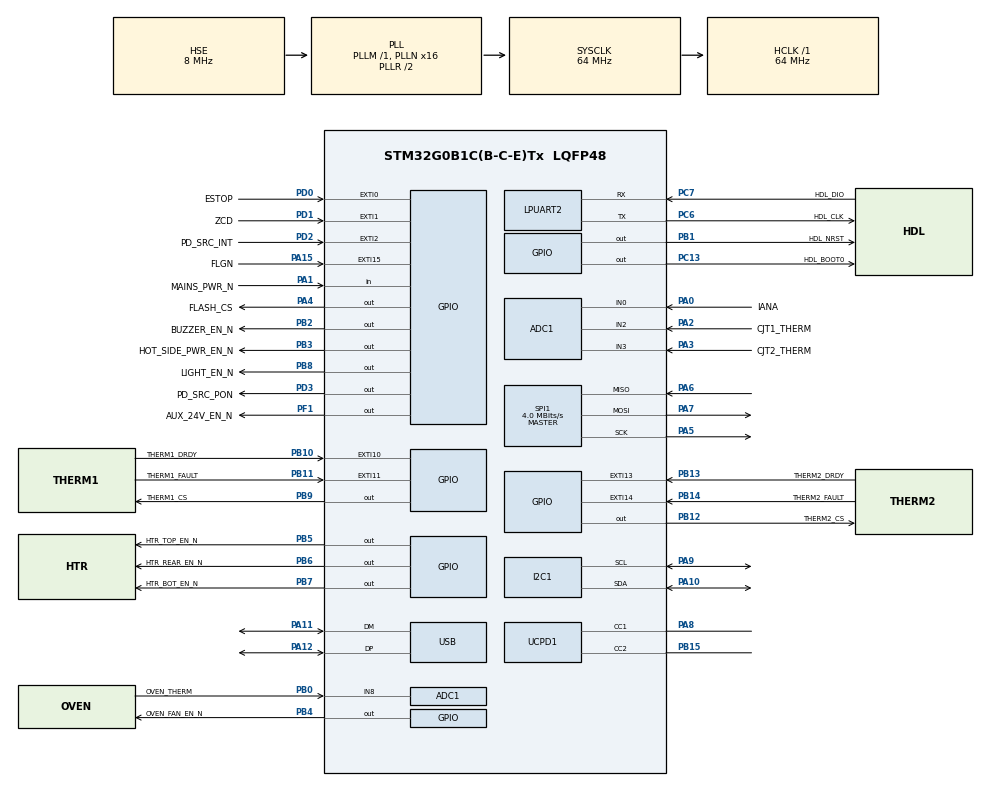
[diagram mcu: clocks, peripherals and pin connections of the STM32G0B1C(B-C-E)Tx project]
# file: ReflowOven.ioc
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ADC1.Channel-0\#ChannelRegularConversion=ADC_CHANNEL_2
ADC1.Channel-1\#ChannelRegularConversion=ADC_CHANNEL_3
ADC1.Channel-2\#ChannelRegularConversion=ADC_CHANNEL_8
ADC1.Channel-3\#ChannelRegularConversion=ADC_CHANNEL_0
ADC1.Channel-4\#ChannelRegularConversion=ADC_CHANNEL_TEMPSENSOR
ADC1.Channel-5\#ChannelRegularConversion=ADC_CHANNEL_VREFINT
ADC1.Channel-6\#ChannelRegularConversion=ADC_CHANNEL_VBAT
ADC1.ContinuousConvMode=ENABLE
ADC1.DMAContinuousRequests=ENABLE
ADC1.EOCSelection=ADC_EOC_SEQ_CONV
ADC1.NbrOfConversion=7
ADC1.NbrOfConversionFlag=1
ADC1.Overrun=ADC_OVR_DATA_OVERWRITTEN
ADC1.OversamplingMode=ENABLE
ADC1.Rank-0\#ChannelRegularConversion=1
ADC1.Rank-1\#ChannelRegularConversion=2
ADC1.Rank-2\#ChannelRegularConversion=3
ADC1.Rank-3\#ChannelRegularConversion=4
ADC1.Rank-4\#ChannelRegularConversion=5
ADC1.Rank-5\#ChannelRegularConversion=6
ADC1.Rank-6\#ChannelRegularConversion=7
ADC1.RightBitShift=ADC_RIGHTBITSHIFT_4
ADC1.SamplingTime-0\#ChannelRegularConversion=ADC_SAMPLINGTIME_COMMON_1
ADC1.SamplingTime-1\#ChannelRegularConversion=ADC_SAMPLINGTIME_COMMON_1
ADC1.SamplingTime-2\#ChannelRegularConversion=ADC_SAMPLINGTIME_COMMON_1
ADC1.SamplingTime-3\#ChannelRegularConversion=ADC_SAMPLINGTIME_COMMON_1
ADC1.SamplingTime-4\#ChannelRegularConversion=ADC_SAMPLINGTIME_COMMON_1
ADC1.SamplingTime-5\#ChannelRegularConversion=ADC_SAMPLINGTIME_COMMON_1
ADC1.SamplingTime-6\#ChannelRegularConversion=ADC_SAMPLINGTIME_COMMON_1
ADC1.SamplingTimeCommon1=ADC_SAMPLETIME_39CYCLES_5
ADC1.SelectedChannel=ADC_CHANNEL_0|ADC_CHANNEL_2|ADC_CHANNEL_3|ADC_CHANNEL_TEMPSENSOR|ADC_CHANNEL_VREFINT|ADC_CHANNEL_8|ADC_CHANNEL_VBAT
ADC1.master=1
Dma.ADC1.0.Direction=DMA_PERIPH_TO_MEMORY
Dma.ADC1.0.EventEnable=DISABLE
Dma.ADC1.0.Instance=DMA1_Channel1
Dma.ADC1.0.MemDataAlignment=DMA_MDATAALIGN_HALFWORD
Dma.ADC1.0.MemInc=DMA_MINC_ENABLE
Dma.ADC1.0.Mode=DMA_CIRCULAR
Dma.ADC1.0.PeriphDataAlignment=DMA_PDATAALIGN_HALFWORD
Dma.ADC1.0.PeriphInc=DMA_PINC_DISABLE
Dma.ADC1.0.Polarity=HAL_DMAMUX_REQ_GEN_RISING
Dma.ADC1.0.Priority=DMA_PRIORITY_LOW
Dma.ADC1.0.RequestNumber=1
Dma.ADC1.0.SignalID=NONE
Dma.ADC1.0.SyncEnable=DISABLE
Dma.ADC1.0.SyncPolarity=HAL_DMAMUX_SYNC_NO_EVENT
Dma.ADC1.0.SyncRequestNumber=1
Dma.ADC1.0.SyncSignalID=NONE
Dma.Request0=ADC1
Dma.Request1=UCPD1_RX
Dma.Request2=UCPD1_TX
Dma.UCPD1_RX.1.Direction=DMA_PERIPH_TO_MEMORY
Dma.UCPD1_RX.1.EventEnable=DISABLE
Dma.UCPD1_RX.1.Instance=DMA1_Channel2
Dma.UCPD1_RX.1.MemDataAlignment=DMA_MDATAALIGN_BYTE
Dma.UCPD1_RX.1.MemInc=DMA_MINC_ENABLE
Dma.UCPD1_RX.1.Mode=DMA_NORMAL
Dma.UCPD1_RX.1.PeriphDataAlignment=DMA_PDATAALIGN_BYTE
Dma.UCPD1_RX.1.PeriphInc=DMA_PINC_DISABLE
Dma.UCPD1_RX.1.Polarity=HAL_DMAMUX_REQ_GEN_RISING
Dma.UCPD1_RX.1.Priority=DMA_PRIORITY_LOW
Dma.UCPD1_RX.1.RequestNumber=1
Dma.UCPD1_RX.1.SignalID=NONE
Dma.UCPD1_RX.1.SyncEnable=DISABLE
Dma.UCPD1_RX.1.SyncPolarity=HAL_DMAMUX_SYNC_NO_EVENT
Dma.UCPD1_RX.1.SyncRequestNumber=1
Dma.UCPD1_RX.1.SyncSignalID=NONE
Dma.UCPD1_TX.2.Direction=DMA_MEMORY_TO_PERIPH
Dma.UCPD1_TX.2.EventEnable=DISABLE
Dma.UCPD1_TX.2.Instance=DMA1_Channel3
Dma.UCPD1_TX.2.MemDataAlignment=DMA_MDATAALIGN_BYTE
Dma.UCPD1_TX.2.MemInc=DMA_MINC_ENABLE
Dma.UCPD1_TX.2.Mode=DMA_NORMAL
Dma.UCPD1_TX.2.PeriphDataAlignment=DMA_PDATAALIGN_BYTE
Dma.UCPD1_TX.2.PeriphInc=DMA_PINC_DISABLE
Dma.UCPD1_TX.2.Polarity=HAL_DMAMUX_REQ_GEN_RISING
Dma.UCPD1_TX.2.Priority=DMA_PRIORITY_LOW
Dma.UCPD1_TX.2.RequestNumber=1
Dma.UCPD1_TX.2.SignalID=NONE
Dma.UCPD1_TX.2.SyncEnable=DISABLE
Dma.UCPD1_TX.2.SyncPolarity=HAL_DMAMUX_SYNC_NO_EVENT
Dma.UCPD1_TX.2.SyncRequestNumber=1
Dma.UCPD1_TX.2.SyncSignalID=NONE
FREERTOS.BinarySemaphores01=I2CBusSem,Static,I2CBusSemControlBlock,Available;SPIBusSem,Static,SPIBusSemControlBlock,Available;CRCSem,Static,CRCSemControlBlock,Available
FREERTOS.Events01=SystemStatusFlags,Static,SystemStatusFlagsControlBlock;DeviceStatusFlags,Static,DeviceStatusFlagsControlBlock;FaultFlags,Static,FaultFlagsControlBlock;ReflowFlags,Static,SWIReasonFlagsControlBlock
FREERTOS.INCLUDE_uxTaskGetStackHighWaterMark=1
FREERTOS.INCLUDE_vTaskDelayUntil=1
FREERTOS.INCLUDE_xEventGroupSetBitFromISR=1
FREERTOS.INCLUDE_xTimerPendFunctionCall=1
FREERTOS.Queues01=SensorsQueue,3,48,1,Static,SensorsQueueBuffer,SensorsQueueControlBlock;LoggingQueue,16,uint16_t,0,Static,LoggingQueueBuffer,LoggingQueueControlBlock
FREERTOS.Tasks01=ManagerTask,40,384,StartManagerTask,Default,NULL,Static,ManagerTaskBuffer,ManagerTaskControlBlock;DeviceTask,24,512,StartDeviceTask,Default,NULL,Static,DeviceTaskBuffer,DeviceTaskControlBlock;APITask,24,512,StartAPITask,Default,NULL,Static,APITaskBuffer,APITaskControlBlock;LoggingTask,16,256,StartLoggingTask,Default,NULL,Static,LoggingTaskBuffer,LoggingTaskControlBlock;USBPDTask,32,512,StartUSBPDTask,Default,NULL,Static,USBPDTaskBuffer,USBPDTaskControlBlock;ReflowTask,24,256,StartReflowTask,Default,NULL,Static,ReflowTaskBuffer,ReflowTaskControlBlock
FREERTOS.configCHECK_FOR_STACK_OVERFLOW=1
FREERTOS.configENABLE_FPU=0
FREERTOS.configMINIMAL_STACK_SIZE=128
FREERTOS.configTOTAL_HEAP_SIZE=24576
FREERTOS.configUSE_TIMERS=1
I2C1.Timing=0x10B17DB5
LPUART2.WordLength=UART_WORDLENGTH_8B
Mcu.Family=STM32G0
Mcu.Name=STM32G0B1C(B-C-E)Tx
Mcu.Package=LQFP48
Mcu.UserConstants=ADC1Handle,$$_ADC1_IP_HANDLE_$$;LPUART2Handle,$$_LPUART2_IP_HANDLE_$$;SPI1Handle,$$_SPI1_IP_HANDLE_$$;UCPD1Handle,$$_UCPD1_IP_HANDLE_$$;TIM7Handle,$$_TIM7_IP_HANDLE_$$;TIM1Handle,$$_TIM1_IP_HANDLE_$$;I2C1Handle,$$_I2C1_IP_HANDLE_$$
NVIC.ADC1_COMP_IRQn=true\:3\:0\:false\:false\:true\:true\:true\:true\:true
NVIC.DMA1_Channel1_IRQn=true\:3\:0\:false\:false\:true\:true\:false\:true\:true
NVIC.DMA1_Channel2_3_IRQn=true\:3\:0\:false\:false\:true\:true\:false\:true\:true
NVIC.EXTI0_1_IRQn=true\:3\:0\:true\:false\:true\:true\:true\:true\:true
NVIC.EXTI2_3_IRQn=true\:3\:0\:true\:false\:true\:true\:true\:true\:true
NVIC.EXTI4_15_IRQn=true\:3\:0\:true\:false\:true\:true\:true\:true\:true
NVIC.RCC_IRQn=true\:3\:0\:false\:false\:true\:true\:true\:false\:true
NVIC.SPI1_IRQn=true\:3\:0\:false\:false\:true\:true\:true\:true\:true
NVIC.TIM16_FDCAN_IT0_IRQn=true\:3\:0\:false\:false\:true\:true\:true\:true\:true
NVIC.TIM1_BRK_UP_TRG_COM_IRQn=true\:3\:0\:false\:false\:true\:true\:true\:true\:true
NVIC.TIM1_CC_IRQn=true\:3\:0\:false\:false\:true\:true\:true\:true\:true
NVIC.TIM7_LPTIM2_IRQn=true\:3\:0\:true\:false\:true\:true\:true\:true\:true
NVIC.TimeBase=TIM6_DAC_LPTIM1_IRQn
NVIC.TimeBaseIP=TIM6
NVIC.USART2_LPUART2_IRQn=true\:3\:0\:false\:false\:true\:true\:true\:true\:true
NVIC.USB_UCPD1_2_IRQn=true\:3\:0\:true\:false\:true\:true\:true\:true\:true
PA0.GPIO_Label=IANA
PA0.Mode=IN0
PA0.Signal=ADC1_IN0
PA1.GPIO_Label=MAINS_PWR_N
PA1.Signal=GPIO_Input
PA10.Mode=I2C
PA10.Signal=I2C1_SDA
PA11\ [PA9].Mode=Device
PA11\ [PA9].Signal=USB_DM
PA12\ [PA10].Mode=Device
PA12\ [PA10].Signal=USB_DP
PA13.GPIO_Label=SWDIO
PA13.Mode=Serial_Wire
PA13.Signal=SYS_SWDIO
PA14-BOOT0.GPIO_Label=SWCLK
PA14-BOOT0.Mode=Serial_Wire
PA14-BOOT0.Signal=SYS_SWCLK
PA15.GPIO_Label=FLGN
PA15.GPIO_ModeDefaultEXTI=GPIO_MODE_IT_FALLING
PA15.Signal=GPXTI15
PA2.GPIO_Label=CJT1_THERM
PA2.Mode=IN2
PA2.Signal=ADC1_IN2
PA3.GPIO_Label=CJT2_THERM
PA3.Mode=IN3
PA3.Signal=ADC1_IN3
PA4.GPIO_Label=FLASH_CS
PA4.Signal=GPIO_Output
PA5.GPIO_Speed=GPIO_SPEED_FREQ_VERY_HIGH
PA5.Mode=Full_Duplex_Master
PA5.Signal=SPI1_SCK
PA6.GPIO_Speed=GPIO_SPEED_FREQ_VERY_HIGH
PA6.Mode=Full_Duplex_Master
PA6.Signal=SPI1_MISO
PA7.GPIO_Speed=GPIO_SPEED_FREQ_VERY_HIGH
PA7.Mode=Full_Duplex_Master
PA7.Signal=SPI1_MOSI
PA8.Mode=Dual_Role_AllSignals
PA8.Signal=UCPD1_CC1
PA9.Mode=I2C
PA9.Signal=I2C1_SCL
PB0.GPIO_Label=OVEN_THERM
PB0.Mode=IN8
PB0.Signal=ADC1_IN8
PB1.GPIO_Label=HDL_NRST
PB1.Signal=GPIO_Output
PB10.GPIO_Label=THERM1_DRDY
PB10.Signal=GPXTI10
PB11.GPIO_Label=THERM1_FAULT
PB11.Signal=GPXTI11
PB12.GPIO_Label=THERM2_CS
PB12.Signal=GPIO_Output
PB13.GPIO_Label=THERM2_DRDY
PB13.Signal=GPXTI13
PB14.GPIO_Label=THERM2_FAULT
PB14.Signal=GPXTI14
PB15.Mode=Dual_Role_AllSignals
PB15.Signal=UCPD1_CC2
PB2.GPIO_Label=BUZZER_EN_N
PB2.Signal=GPIO_Output
PB3.GPIO_Label=HOT_SIDE_PWR_EN_N
PB3.Signal=GPIO_Output
PB4.GPIO_Label=OVEN_FAN_EN_N
PB4.Signal=GPIO_Output
PB5.GPIO_Label=HTR_TOP_EN_N
PB5.Signal=GPIO_Output
PB6.GPIO_Label=HTR_REAR_EN_N
PB6.Signal=GPIO_Output
PB7.GPIO_Label=HTR_BOT_EN_N
PB7.Signal=GPIO_Output
PB8.GPIO_Label=LIGHT_EN_N
PB8.Signal=GPIO_Output
PB9.GPIO_Label=THERM1_CS
PB9.Signal=GPIO_Output
PC13.GPIO_Label=HDL_BOOT0
PC13.Signal=GPIO_Output
PC14-OSC32_IN\ (PC14).GPIO_Label=OSC32_IN
PC14-OSC32_IN\ (PC14).Mode=LSE-External-Oscillator
PC14-OSC32_IN\ (PC14).Signal=RCC_OSC32_IN
PC15-OSC32_OUT\ (PC15).GPIO_Label=OSC32_OUT
PC15-OSC32_OUT\ (PC15).Mode=LSE-External-Oscillator
PC15-OSC32_OUT\ (PC15).Signal=RCC_OSC32_OUT
PC6.GPIO_Label=HDL_CLK
PC6.Mode=Asynchronous
PC6.Signal=LPUART2_TX
PC7.GPIO_Label=HDL_DIO
PC7.Mode=Asynchronous
PC7.Signal=LPUART2_RX
PD0.GPIO_Label=ESTOP
PD0.Signal=GPXTI0
PD1.GPIO_Label=ZCD
PD1.Signal=GPXTI1
PD2.GPIO_Label=PD_SRC_INT
PD2.Signal=GPXTI2
PD3.GPIO_Label=PD_SRC_PON
PD3.Signal=GPIO_Output
PF0-OSC_IN\ (PF0).GPIO_Label=OSC_IN
PF0-OSC_IN\ (PF0).Mode=HSE-External-Clock-Source
PF0-OSC_IN\ (PF0).Signal=RCC_OSC_IN
PF1-OSC_OUT\ (PF1).GPIO_Label=AUX_24V_EN_N
PF1-OSC_OUT\ (PF1).Signal=GPIO_Output
ProjectManager.HeapSize=0x200
ProjectManager.StackSize=0x400
ProjectManager.TargetToolchain=CMake
RCC.ADCFreq_Value=64000000
RCC.AHBFreq_Value=64000000
RCC.CodegenConfigPeriph=true
RCC.CortexFreq_Value=64000000
RCC.EXTERNAL_CLOCK_VALUE=48000
RCC.EnableCSSLSE=true
RCC.EnbaleCSS=true
RCC.HCLKFreq_Value=64000000
RCC.HSE_VALUE=8000000
RCC.HSI48_VALUE=48000000
RCC.HSI_VALUE=16000000
RCC.PLLN=16
RCC.PLLSourceVirtual=RCC_PLLSOURCE_HSE
RCC.RTCClockSelection=RCC_RTCCLKSOURCE_LSE
RCC.SYSCLKFreq_VALUE=64000000
RCC.SYSCLKSource=RCC_SYSCLKSOURCE_PLLCLK
RCC.USBFreq_Value=48000000
RCC.VCOOutputFreq_Value=128000000
SPI1.BaudRatePrescaler=SPI_BAUDRATEPRESCALER_16
SPI1.CalculateBaudRate=4.0 MBits/s
SPI1.DataSize=SPI_DATASIZE_8BIT
SPI1.Direction=SPI_DIRECTION_2LINES
SPI1.Mode=SPI_MODE_MASTER
SPI1.NSSPMode=SPI_NSS_PULSE_DISABLE
SPI1.VirtualType=VM_MASTER
TIM1.Channel-Output\ Compare1\ No\ Output=TIM_CHANNEL_1
TIM1.Period=10000
TIM1.Prescaler=63
TIM16.Prescaler=63
TIM7.Period=999
TIM7.Prescaler=6399
USB_DEVICE.APP_RX_DATA_SIZE=512
USB_DEVICE.APP_TX_DATA_SIZE=512
USB_DEVICE.CLASS_NAME_FS=CDC
USB_DEVICE.MANUFACTURER_STRING=MungerWare
USB_DEVICE.PRODUCT_STRING_CDC_FS=VesuviOven MagmaFlow V1
USB_DEVICE.VirtualMode=Cdc
USB_DEVICE.VirtualModeFS=Cdc_FS
VP_ADC1_TempSens_Input.Mode=IN-TempSens
VP_ADC1_Vbat_Input.Mode=IN-Vbat
VP_ADC1_Vref_Input.Mode=IN-Vrefint
VP_CRC_VS_CRC.Mode=CRC_Activate
VP_FREERTOS_VS_CMSIS_V2.Mode=CMSIS_V2
VP_IWDG_VS_IWDG.Mode=IWDG_Activate
VP_RCC_USB.Mode=CRS SYNC Source USB
VP_RTC_VS_RTC_Activate.Mode=RTC_Enabled
VP_RTC_VS_RTC_Calendar.Mode=RTC_Calendar
VP_SYS_VS_DBSignals.Mode=DisableDeadBatterySignals
VP_SYS_VS_tim6.Mode=TIM6
VP_TIM16_VS_ClockSourceINT.Mode=Enable_Timer
VP_TIM16_VS_OPM.Mode=OPM_bit
VP_TIM1_VS_ClockSourceINT.Mode=Internal
VP_TIM1_VS_OPM.Mode=OPM_bit
VP_TIM1_VS_no_output1.Mode=Output Compare1 No Output
VP_TIM7_VS_ClockSourceINT.Mode=Enable_Timer
VP_USBPD_VS_PD3FULL.Mode=PD3_Full_Stack
VP_USBPD_VS_USBPD1.Mode=USBPD_P0
VP_USBPD_VS_usbpd_tim2.Mode=TIM2
VP_USB_DEVICE_VS_USB_DEVICE_CDC_FS.Mode=CDC_FS
board=custom

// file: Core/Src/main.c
/* USER CODE BEGIN Header */
/**
  ******************************************************************************
  * @file           : main.c
  * @brief          : Main program body
  ******************************************************************************
  * @attention
  *
  * Copyright (c) 2026 STMicroelectronics.
  * All rights reserved.
  *
  * This software is licensed under terms that can be found in the LICENSE file
  * in the root directory of this software component.
  * If no LICENSE file comes with this software, it is provided AS-IS.
  *
  ******************************************************************************
  */
/* USER CODE END Header */
#include "main.h"
#include "cmsis_os.h"
#include "adc.h"
#include "crc.h"
#include "dma.h"
#include "i2c.h"
#include "iwdg.h"
#include "usart.h"
#include "rtc.h"
#include "spi.h"
#include "tim.h"
#include "ucpd.h"
#include "usbpd.h"
#include "usb_device.h"
#include "gpio.h"

void SystemClock_Config(void);
void MX_FREERTOS_Init(void);

int main(void)
{

  /* MCU Configuration--------------------------------------------------------*/

  /* Reset of all peripherals, Initializes the Flash interface and the Systick. */
  HAL_Init();

  /* Configure the system clock */
  SystemClock_Config();

  /* Initialize all configured peripherals */
  MX_GPIO_Init();
  MX_DMA_Init();
  MX_IWDG_Init();
  MX_RTC_Init();
  MX_TIM1_Init();
  MX_TIM7_Init();
  MX_I2C1_Init();
  MX_LPUART2_UART_Init();
  MX_UCPD1_Init();
  MX_SPI1_Init();
  MX_ADC1_Init();
  MX_TIM16_Init();
  MX_CRC_Init();

  /* Init scheduler */
  osKernelInitialize();
  /* USBPD initialisation ---------------------------------*/
  MX_USBPD_Init();  /* Call init function for freertos objects (in cmsis_os2.c) */
  MX_FREERTOS_Init();

  /* Start scheduler */
  osKernelStart();

  /* We should never get here as control is now taken by the scheduler */

  /* Infinite loop */
  while (1)
  {

  }
}

void SystemClock_Config(void)
{
  RCC_OscInitTypeDef RCC_OscInitStruct = {0};
  RCC_ClkInitTypeDef RCC_ClkInitStruct = {0};
  RCC_CRSInitTypeDef pInit = {0};

  /** Configure the main internal regulator output voltage
  */
  HAL_PWREx_ControlVoltageScaling(PWR_REGULATOR_VOLTAGE_SCALE1);

  /** Configure LSE Drive Capability
  */
  HAL_PWR_EnableBkUpAccess();
  __HAL_RCC_LSEDRIVE_CONFIG(RCC_LSEDRIVE_LOW);

  /** Initializes the RCC Oscillators according to the specified parameters
  * in the RCC_OscInitTypeDef structure.
  */
  RCC_OscInitStruct.OscillatorType = RCC_OSCILLATORTYPE_HSI|RCC_OSCILLATORTYPE_LSI
                              |RCC_OSCILLATORTYPE_HSE|RCC_OSCILLATORTYPE_LSE
                              |RCC_OSCILLATORTYPE_HSI48;
  RCC_OscInitStruct.HSEState = RCC_HSE_BYPASS;
  RCC_OscInitStruct.LSEState = RCC_LSE_ON;
  RCC_OscInitStruct.HSIState = RCC_HSI_ON;
  RCC_OscInitStruct.HSI48State = RCC_HSI48_ON;
  RCC_OscInitStruct.HSIDiv = RCC_HSI_DIV1;
  RCC_OscInitStruct.HSICalibrationValue = RCC_HSICALIBRATION_DEFAULT;
  RCC_OscInitStruct.LSIState = RCC_LSI_ON;
  RCC_OscInitStruct.PLL.PLLState = RCC_PLL_ON;
  RCC_OscInitStruct.PLL.PLLSource = RCC_PLLSOURCE_HSE;
  RCC_OscInitStruct.PLL.PLLM = RCC_PLLM_DIV1;
  RCC_OscInitStruct.PLL.PLLN = 16;
  RCC_OscInitStruct.PLL.PLLP = RCC_PLLP_DIV2;
  RCC_OscInitStruct.PLL.PLLQ = RCC_PLLQ_DIV2;
  RCC_OscInitStruct.PLL.PLLR = RCC_PLLR_DIV2;
  if (HAL_RCC_OscConfig(&RCC_OscInitStruct) != HAL_OK)
  {
    Error_Handler();
  }

  /** Initializes the CPU, AHB and APB buses clocks
  */
  RCC_ClkInitStruct.ClockType = RCC_CLOCKTYPE_HCLK|RCC_CLOCKTYPE_SYSCLK
                              |RCC_CLOCKTYPE_PCLK1;
  RCC_ClkInitStruct.SYSCLKSource = RCC_SYSCLKSOURCE_PLLCLK;
  RCC_ClkInitStruct.AHBCLKDivider = RCC_SYSCLK_DIV1;
  RCC_ClkInitStruct.APB1CLKDivider = RCC_HCLK_DIV1;

  if (HAL_RCC_ClockConfig(&RCC_ClkInitStruct, FLASH_LATENCY_2) != HAL_OK)
  {
    Error_Handler();
  }

  /** Enables the Clock Security System
  */
  HAL_RCC_EnableCSS();

  /** Enables the Clock Security System
  */
  HAL_RCC_EnableLSECSS();

  /** Enable the SYSCFG APB clock
  */
  __HAL_RCC_CRS_CLK_ENABLE();

  /** Configures CRS
  */
  pInit.Prescaler = RCC_CRS_SYNC_DIV1;
  pInit.Source = RCC_CRS_SYNC_SOURCE_USB;
  pInit.Polarity = RCC_CRS_SYNC_POLARITY_RISING;
  pInit.ReloadValue = __HAL_RCC_CRS_RELOADVALUE_CALCULATE(48000000,1000);
  pInit.ErrorLimitValue = 34;
  pInit.HSI48CalibrationValue = 32;

  HAL_RCCEx_CRSConfig(&pInit);
}

void HAL_TIM_PeriodElapsedCallback(TIM_HandleTypeDef *htim)
{
  if (htim->Instance == TIM6)
  {
    HAL_IncTick();
  }
}

void Error_Handler(void)
{
  __disable_irq();
  while (1)
  {
  }
}

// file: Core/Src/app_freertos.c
/* USER CODE BEGIN Header */
/**
 ******************************************************************************
 * File Name          : app_freertos.c
 * Description        : Code for freertos applications
 ******************************************************************************
 * @attention
 *
 * Copyright (c) 2026 STMicroelectronics.
 * All rights reserved.
 *
 * This software is licensed under terms that can be found in the LICENSE file
 * in the root directory of this software component.
 * If no LICENSE file comes with this software, it is provided AS-IS.
 *
 ******************************************************************************
 */
/* USER CODE END Header */

#include "FreeRTOS.h"
#include "task.h"
#include "main.h"
#include "cmsis_os.h"

#include "usb_device.h"

/* USER CODE BEGIN Includes */

#include "APITask.h"
#include "DeviceTask.h"
#include "LoggingTask.h"
#include "ReflowTask.h"
#include "USBPDTask.h"
#include "ManagerTask.h"

/* USER CODE END Includes */

typedef StaticTask_t osStaticThreadDef_t;
typedef StaticQueue_t osStaticMessageQDef_t;
typedef StaticSemaphore_t osStaticSemaphoreDef_t;
typedef StaticEventGroup_t osStaticEventGroupDef_t;

/* Definitions for ManagerTask */
osThreadId_t ManagerTaskHandle;
uint32_t ManagerTaskBuffer[ 384 ];
osStaticThreadDef_t ManagerTaskControlBlock;
const osThreadAttr_t ManagerTask_attributes = {
  .name = "ManagerTask",
  .stack_mem = &ManagerTaskBuffer[0],
  .stack_size = sizeof(ManagerTaskBuffer),
  .cb_mem = &ManagerTaskControlBlock,
  .cb_size = sizeof(ManagerTaskControlBlock),
  .priority = (osPriority_t) osPriorityHigh,
};
/* Definitions for DeviceTask */
osThreadId_t DeviceTaskHandle;
uint32_t DeviceTaskBuffer[ 512 ];
osStaticThreadDef_t DeviceTaskControlBlock;
const osThreadAttr_t DeviceTask_attributes = {
  .name = "DeviceTask",
  .stack_mem = &DeviceTaskBuffer[0],
  .stack_size = sizeof(DeviceTaskBuffer),
  .cb_mem = &DeviceTaskControlBlock,
  .cb_size = sizeof(DeviceTaskControlBlock),
  .priority = (osPriority_t) osPriorityNormal,
};
/* Definitions for APITask */
osThreadId_t APITaskHandle;
uint32_t APITaskBuffer[ 512 ];
osStaticThreadDef_t APITaskControlBlock;
const osThreadAttr_t APITask_attributes = {
  .name = "APITask",
  .stack_mem = &APITaskBuffer[0],
  .stack_size = sizeof(APITaskBuffer),
  .cb_mem = &APITaskControlBlock,
  .cb_size = sizeof(APITaskControlBlock),
  .priority = (osPriority_t) osPriorityNormal,
};
/* Definitions for LoggingTask */
osThreadId_t LoggingTaskHandle;
uint32_t LoggingTaskBuffer[ 256 ];
osStaticThreadDef_t LoggingTaskControlBlock;
const osThreadAttr_t LoggingTask_attributes = {
  .name = "LoggingTask",
  .stack_mem = &LoggingTaskBuffer[0],
  .stack_size = sizeof(LoggingTaskBuffer),
  .cb_mem = &LoggingTaskControlBlock,
  .cb_size = sizeof(LoggingTaskControlBlock),
  .priority = (osPriority_t) osPriorityBelowNormal,
};
/* Definitions for USBPDTask */
osThreadId_t USBPDTaskHandle;
uint32_t USBPDTaskBuffer[ 512 ];
osStaticThreadDef_t USBPDTaskControlBlock;
const osThreadAttr_t USBPDTask_attributes = {
  .name = "USBPDTask",
  .stack_mem = &USBPDTaskBuffer[0],
  .stack_size = sizeof(USBPDTaskBuffer),
  .cb_mem = &USBPDTaskControlBlock,
  .cb_size = sizeof(USBPDTaskControlBlock),
  .priority = (osPriority_t) osPriorityAboveNormal,
};
/* Definitions for ReflowTask */
osThreadId_t ReflowTaskHandle;
uint32_t ReflowTaskBuffer[ 256 ];
osStaticThreadDef_t ReflowTaskControlBlock;
const osThreadAttr_t ReflowTask_attributes = {
  .name = "ReflowTask",
  .stack_mem = &ReflowTaskBuffer[0],
  .stack_size = sizeof(ReflowTaskBuffer),
  .cb_mem = &ReflowTaskControlBlock,
  .cb_size = sizeof(ReflowTaskControlBlock),
  .priority = (osPriority_t) osPriorityNormal,
};
/* Definitions for SensorsQueue */
osMessageQueueId_t SensorsQueueHandle;
uint8_t SensorsQueueBuffer[ 3 * 48 ];
osStaticMessageQDef_t SensorsQueueControlBlock;
const osMessageQueueAttr_t SensorsQueue_attributes = {
  .name = "SensorsQueue",
  .cb_mem = &SensorsQueueControlBlock,
  .cb_size = sizeof(SensorsQueueControlBlock),
  .mq_mem = &SensorsQueueBuffer,
  .mq_size = sizeof(SensorsQueueBuffer)
};
/* Definitions for LoggingQueue */
osMessageQueueId_t LoggingQueueHandle;
uint8_t LoggingQueueBuffer[ 16 * sizeof( uint16_t ) ];
osStaticMessageQDef_t LoggingQueueControlBlock;
const osMessageQueueAttr_t LoggingQueue_attributes = {
  .name = "LoggingQueue",
  .cb_mem = &LoggingQueueControlBlock,
  .cb_size = sizeof(LoggingQueueControlBlock),
  .mq_mem = &LoggingQueueBuffer,
  .mq_size = sizeof(LoggingQueueBuffer)
};
/* Definitions for I2CBusSem */
osSemaphoreId_t I2CBusSemHandle;
osStaticSemaphoreDef_t I2CBusSemControlBlock;
const osSemaphoreAttr_t I2CBusSem_attributes = {
  .name = "I2CBusSem",
  .cb_mem = &I2CBusSemControlBlock,
  .cb_size = sizeof(I2CBusSemControlBlock),
};
/* Definitions for SPIBusSem */
osSemaphoreId_t SPIBusSemHandle;
osStaticSemaphoreDef_t SPIBusSemControlBlock;
const osSemaphoreAttr_t SPIBusSem_attributes = {
  .name = "SPIBusSem",
  .cb_mem = &SPIBusSemControlBlock,
  .cb_size = sizeof(SPIBusSemControlBlock),
};
/* Definitions for CRCSem */
osSemaphoreId_t CRCSemHandle;
osStaticSemaphoreDef_t CRCSemControlBlock;
const osSemaphoreAttr_t CRCSem_attributes = {
  .name = "CRCSem",
  .cb_mem = &CRCSemControlBlock,
  .cb_size = sizeof(CRCSemControlBlock),
};
/* Definitions for SystemStatusFlags */
osEventFlagsId_t SystemStatusFlagsHandle;
osStaticEventGroupDef_t SystemStatusFlagsControlBlock;
const osEventFlagsAttr_t SystemStatusFlags_attributes = {
  .name = "SystemStatusFlags",
  .cb_mem = &SystemStatusFlagsControlBlock,
  .cb_size = sizeof(SystemStatusFlagsControlBlock),
};
/* Definitions for DeviceStatusFlags */
osEventFlagsId_t DeviceStatusFlagsHandle;
osStaticEventGroupDef_t DeviceStatusFlagsControlBlock;
const osEventFlagsAttr_t DeviceStatusFlags_attributes = {
  .name = "DeviceStatusFlags",
  .cb_mem = &DeviceStatusFlagsControlBlock,
  .cb_size = sizeof(DeviceStatusFlagsControlBlock),
};
/* Definitions for FaultFlags */
osEventFlagsId_t FaultFlagsHandle;
osStaticEventGroupDef_t FaultFlagsControlBlock;
const osEventFlagsAttr_t FaultFlags_attributes = {
  .name = "FaultFlags",
  .cb_mem = &FaultFlagsControlBlock,
  .cb_size = sizeof(FaultFlagsControlBlock),
};
/* Definitions for ReflowFlags */
osEventFlagsId_t ReflowFlagsHandle;
osStaticEventGroupDef_t SWIReasonFlagsControlBlock;
const osEventFlagsAttr_t ReflowFlags_attributes = {
  .name = "ReflowFlags",
  .cb_mem = &SWIReasonFlagsControlBlock,
  .cb_size = sizeof(SWIReasonFlagsControlBlock),
};

void StartManagerTask(void *argument);
void StartDeviceTask(void *argument);
void StartAPITask(void *argument);
void StartLoggingTask(void *argument);
void StartUSBPDTask(void *argument);
void StartReflowTask(void *argument);

void MX_FREERTOS_Init(void); /* (MISRA C 2004 rule 8.1) */

/* Hook prototypes */
void vApplicationStackOverflowHook(xTaskHandle xTask, signed char *pcTaskName);

/* USER CODE BEGIN 4 */
void                       vApplicationStackOverflowHook( xTaskHandle xTask, signed char* pcTaskName ) {
    /* Run time stack overflow checking is performed if
    configCHECK_FOR_STACK_OVERFLOW is defined to 1 or 2. This hook function is
    called if a stack overflow is detected. */
}

/* USER CODE END 4 */

void MX_FREERTOS_Init(void) {

  /* Create the semaphores(s) */
  /* creation of I2CBusSem */
  I2CBusSemHandle = osSemaphoreNew(1, 1, &I2CBusSem_attributes);

  /* creation of SPIBusSem */
  SPIBusSemHandle = osSemaphoreNew(1, 1, &SPIBusSem_attributes);

  /* creation of CRCSem */
  CRCSemHandle = osSemaphoreNew(1, 1, &CRCSem_attributes);

  /* Create the queue(s) */
  /* creation of SensorsQueue */
  SensorsQueueHandle = osMessageQueueNew (3, 48, &SensorsQueue_attributes);

  /* creation of LoggingQueue */
  LoggingQueueHandle = osMessageQueueNew (16, sizeof(uint16_t), &LoggingQueue_attributes);

  /* Create the thread(s) */
  /* creation of ManagerTask */
  ManagerTaskHandle = osThreadNew(StartManagerTask, NULL, &ManagerTask_attributes);

  /* creation of DeviceTask */
  DeviceTaskHandle = osThreadNew(StartDeviceTask, NULL, &DeviceTask_attributes);

  /* creation of APITask */
  APITaskHandle = osThreadNew(StartAPITask, NULL, &APITask_attributes);

  /* creation of LoggingTask */
  LoggingTaskHandle = osThreadNew(StartLoggingTask, NULL, &LoggingTask_attributes);

  /* creation of USBPDTask */
  USBPDTaskHandle = osThreadNew(StartUSBPDTask, NULL, &USBPDTask_attributes);

  /* creation of ReflowTask */
  ReflowTaskHandle = osThreadNew(StartReflowTask, NULL, &ReflowTask_attributes);

  /* Create the event(s) */
  /* creation of SystemStatusFlags */
  SystemStatusFlagsHandle = osEventFlagsNew(&SystemStatusFlags_attributes);

  /* creation of DeviceStatusFlags */
  DeviceStatusFlagsHandle = osEventFlagsNew(&DeviceStatusFlags_attributes);

  /* creation of FaultFlags */
  FaultFlagsHandle = osEventFlagsNew(&FaultFlags_attributes);

  /* creation of ReflowFlags */
  ReflowFlagsHandle = osEventFlagsNew(&ReflowFlags_attributes);

  /* USER CODE BEGIN RTOS_EVENTS */
  ReflowFlagsHandle = osEventFlagsNew(&ReflowFlags_attributes);
  /* USER CODE END RTOS_EVENTS */

}

void StartManagerTask(void *argument)
{
  /* init code for USB_Device */
  MX_USB_Device_Init();
  /* USER CODE BEGIN StartManagerTask */
  ManagerTaskInit();
  for(;;){
    ManagerTaskLoop();
  }
  /* USER CODE END StartManagerTask */
}

void StartDeviceTask(void *argument)
{
  /* USER CODE BEGIN StartDeviceTask */
    DeviceTaskInit();

    for ( ;; ) {
      DeviceTaskLoop();
    }
  /* USER CODE END StartDeviceTask */
}

void StartAPITask(void *argument)
{
  /* USER CODE BEGIN StartAPITask */
    APITaskInit();

    for ( ;; ) {
      APITaskLoop();
    }
  /* USER CODE END StartAPITask */
}

void StartLoggingTask(void *argument)
{
  /* USER CODE BEGIN StartLoggingTask */
    LoggingTaskInit();

    for ( ;; ) {
      LoggingTaskLoop();
    }
  /* USER CODE END StartLoggingTask */
}

void StartUSBPDTask(void *argument)
{
  /* USER CODE BEGIN StartUSBPDTask */
  USBPDTaskInit();

  for(;;) {
    USBPDTaskLoop();
  }
  /* USER CODE END StartUSBPDTask */
}

void StartReflowTask(void *argument)
{
  /* USER CODE BEGIN StartReflowTask */
    ReflowTaskInit();

    for ( ;; ) {
      ReflowTaskLoop();
    }
  /* USER CODE END StartReflowTask */
}
